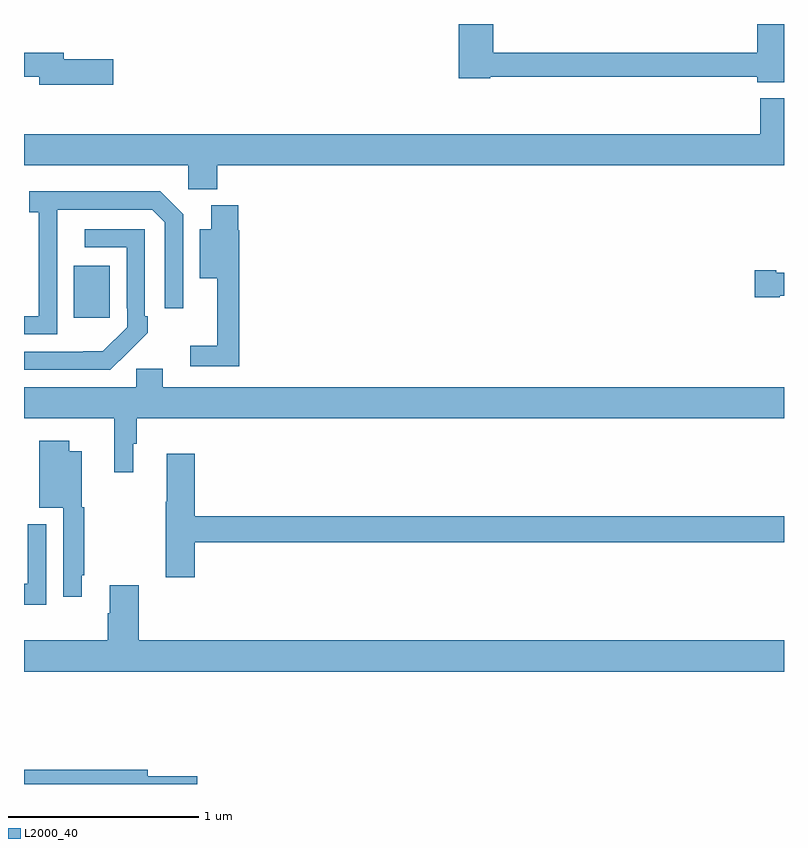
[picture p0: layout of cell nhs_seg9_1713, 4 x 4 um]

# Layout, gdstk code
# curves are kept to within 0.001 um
import gdstk
lib = gdstk.Library(unit=1e-6, precision=1e-09)
def R(c, l, rs):  # rectangles x0, y0, x1, y1
    for r in rs: c.add(gdstk.rectangle(r[:2], r[2:], *l))
def P(c, l, *ps):  # polygons
    for p in ps: c.add(gdstk.Polygon(p, *l))
L2000_40 = (2000, 40)

nhs_seg9_1713 = lib.new_cell('nhs_seg9_1713')
R(nhs_seg9_1713, L2000_40, [(207.263,1192.953,207.451,1193.227)])
P(nhs_seg9_1713, L2000_40, [(211,1194.5),(210.86,1194.5),(210.86,1194.35),(209.471,1194.35),(209.471,1194.5),(209.288,1194.5),(209.288,1194.214),(209.454,1194.214),(209.454,1194.222),(210.86,1194.222),(210.86,1194.194),(211,1194.194)],
  [(207.469,1194.314),(207.208,1194.314),(207.208,1194.35),(207,1194.35),(207,1194.222),(207.08,1194.222),(207.08,1194.179),(207.469,1194.179)],
  [(208.016,1193.756),(211,1193.756),(211,1194.109),(210.875,1194.109),(210.875,1193.92),(207,1193.92),(207,1193.756),(207.864,1193.756),(207.864,1193.63),(208.016,1193.63)],
  [(207.174,1193.323),(207.175,1193.523),(207.675,1193.523),(207.741,1193.457),(207.741,1193.004),(207.837,1193.004),(207.837,1193.499),(207.716,1193.62),(207.027,1193.62),(207.027,1193.51),(207.078,1193.51),(207.078,1192.962),(207,1192.962),(207,1192.866),(207.174,1192.866)],
  [(208.133,1193.415),(208.127,1193.415),(208.127,1193.545),(207.986,1193.545),(207.986,1193.419),(207.926,1193.419),(207.926,1193.162),(208.016,1193.162),(208.016,1192.807),(207.876,1192.807),(207.876,1192.698),(208.133,1192.698)],
  [(207.545,1192.771),(207.546,1192.77),(207.651,1192.875),(207.651,1192.963),(207.636,1192.963),(207.636,1193.421),(207.321,1193.421),(207.321,1193.325),(207.54,1193.325),(207.54,1193.005),(207.543,1193.005),(207.543,1192.905),(207.415,1192.777),(207,1192.776),(207,1192.68),(207.454,1192.68)],
  [(210.978,1193.069),(211,1193.069),(211,1193.191),(210.958,1193.191),(210.958,1193.204),(210.846,1193.204),(210.846,1193.062),(210.978,1193.062)],
  [(207.574,1192.29),(207.593,1192.29),(207.593,1192.424),(211,1192.424),(211,1192.588),(207.73,1192.588),(207.73,1192.686),(207.591,1192.686),(207.591,1192.588),(207,1192.588),(207,1192.424),(207.475,1192.424),(207.475,1192.14),(207.574,1192.14)],
  [(207.304,1191.598),(207.316,1191.598),(207.316,1191.957),(207.304,1191.957),(207.304,1192.252),(207.238,1192.252),(207.238,1192.306),(207.08,1192.306),(207.08,1191.953),(207.207,1191.953),(207.207,1191.486),(207.304,1191.486)],
  [(207.899,1191.772),(211,1191.772),(211,1191.908),(207.899,1191.908),(207.899,1192.237),(207.752,1192.237),(207.752,1191.985),(207.745,1191.985),(207.745,1191.588),(207.899,1191.588)],
  [(207.117,1191.868),(207.02,1191.868),(207.02,1191.553),(207,1191.553),(207,1191.444),(207.117,1191.444)],
  [(211,1191.256),(207.605,1191.256),(207.605,1191.547),(207.452,1191.547),(207.452,1191.398),(207.44,1191.398),(207.44,1191.256),(207,1191.256),(207,1191.092),(211,1191.092)],
  [(207.913,1190.54),(207.652,1190.54),(207.652,1190.576),(207,1190.576),(207,1190.5),(207.913,1190.5)])

lib.write_gds('nhs_seg9_1713.gds')
